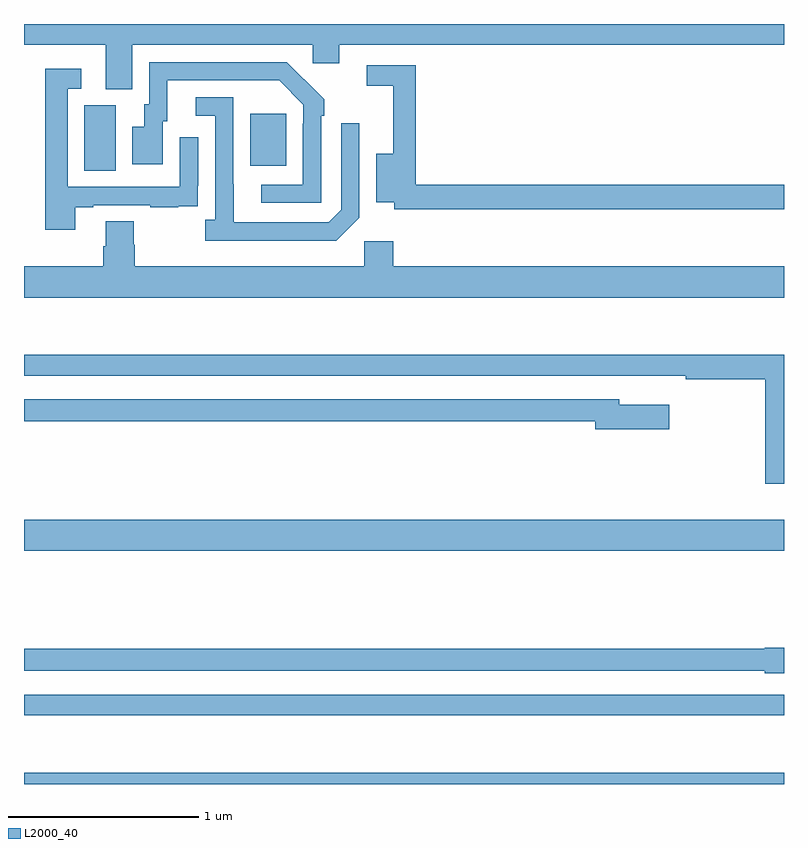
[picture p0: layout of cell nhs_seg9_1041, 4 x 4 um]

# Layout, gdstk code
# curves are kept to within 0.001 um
import gdstk
lib = gdstk.Library(unit=1e-6, precision=1e-09)
def R(c, l, rs):  # rectangles x0, y0, x1, y1
    for r in rs: c.add(gdstk.rectangle(r[:2], r[2:], *l))
def P(c, l, *ps):  # polygons
    for p in ps: c.add(gdstk.Polygon(p, *l))
L2000_40 = (2000, 40)

nhs_seg9_1041 = lib.new_cell('nhs_seg9_1041')
R(nhs_seg9_1041, L2000_40, [(167,1220.5,171,1220.56), (167,1220.862,171,1220.97), (167,1221.728,171,1221.892), (167.318,1223.728,167.482,1224.072), (168.191,1223.753,168.379,1224.028)])
P(nhs_seg9_1041, L2000_40, [(167.569,1224.392),(168.519,1224.392),(168.519,1224.294),(168.658,1224.294),(168.658,1224.392),(171,1224.392),(171,1224.5),(167,1224.5),(167,1224.392),(167.429,1224.392),(167.429,1224.157),(167.569,1224.157)],
  [(168.564,1224.017),(168.579,1224.017),(168.579,1224.105),(168.382,1224.3),(167.658,1224.3),(167.658,1224.078),(167.633,1224.078),(167.633,1223.959),(167.57,1223.959),(167.57,1223.763),(167.731,1223.763),(167.731,1223.988),(167.755,1223.988),(167.755,1224.204),(168.343,1224.204),(168.471,1224.075),(168.471,1223.975),(168.468,1223.975),(168.468,1223.655),(168.249,1223.655),(168.249,1223.559),(168.564,1223.559)],
  [(171,1223.654),(169.061,1223.654),(169.061,1224.282),(168.804,1224.282),(168.804,1224.174),(168.944,1224.174),(168.944,1223.818),(168.854,1223.818),(168.854,1223.561),(168.948,1223.561),(168.948,1223.526),(171,1223.526)],
  [(167.269,1223.535),(167.365,1223.535),(167.365,1223.547),(167.665,1223.547),(167.665,1223.535),(167.813,1223.535),(167.813,1223.541),(167.915,1223.541),(167.915,1223.65),(167.916,1223.65),(167.916,1223.905),(167.82,1223.905),(167.82,1223.643),(167.229,1223.643),(167.229,1224.159),(167.302,1224.159),(167.302,1224.265),(167.113,1224.265),(167.113,1223.418),(167.269,1223.418)],
  [(168.765,1223.481),(168.765,1223.977),(168.669,1223.977),(168.669,1223.523),(168.603,1223.457),(168.103,1223.457),(168.102,1224.114),(167.904,1224.114),(167.904,1224.018),(168.006,1224.018),(168.006,1223.47),(167.955,1223.47),(167.955,1223.36),(168.644,1223.36)],
  [(171,1223.224),(168.944,1223.224),(168.944,1223.356),(168.792,1223.356),(168.792,1223.224),(167.582,1223.224),(167.582,1223.337),(167.577,1223.337),(167.577,1223.462),(167.429,1223.462),(167.429,1223.33),(167.417,1223.33),(167.417,1223.224),(167,1223.224),(167,1223.06),(171,1223.06)],
  [(171,1222.759),(167,1222.759),(167,1222.65),(170.23,1222.65),(170.23,1222.649),(170.482,1222.649),(170.482,1222.63),(170.9,1222.63),(170.9,1222.08),(171,1222.08)],
  [(170.395,1222.495),(170.134,1222.495),(170.134,1222.524),(167,1222.524),(167,1222.408),(170.006,1222.408),(170.006,1222.366),(170.395,1222.366)],
  [(171,1221.218),(170.898,1221.218),(170.898,1221.212),(167,1221.212),(167,1221.096),(170.898,1221.096),(170.898,1221.083),(171,1221.083)])

lib.write_gds('nhs_seg9_1041.gds')
